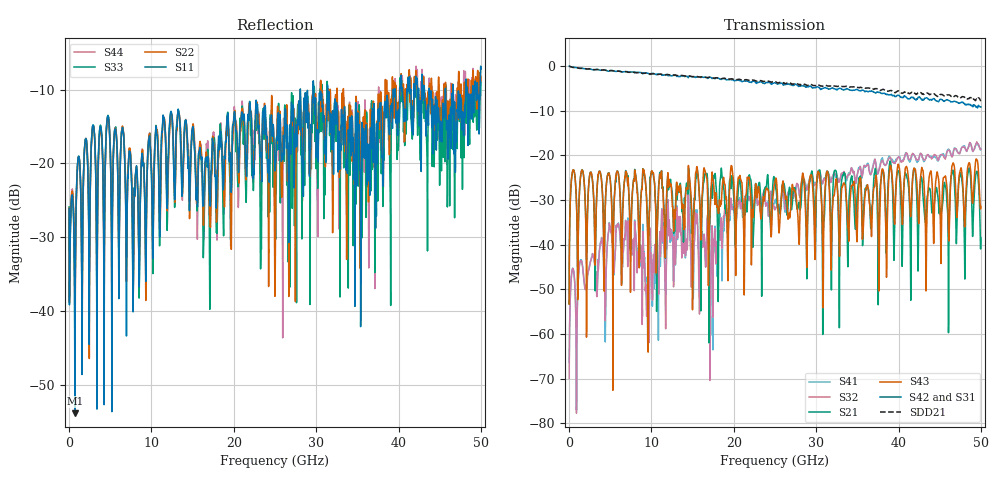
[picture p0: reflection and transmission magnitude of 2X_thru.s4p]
!Agilent Technologies,N5245A,MY49151062,A.09.90.19
!Agilent N5245A: A.09.90.19
!Date: Wednesday, February 13, 2019 09:17:15
!Correction: S99(Full 16 Port(1,2,3,4,5,6,7,8,9,10,11,12,13,14,15,16))
!S9_10(Full 16 Port(1,2,3,4,5,6,7,8,9,10,11,12,13,14,15,16))
!S9_11(Full 16 Port(1,2,3,4,5,6,7,8,9,10,11,12,13,14,15,16))
!S9_12(Full 16 Port(1,2,3,4,5,6,7,8,9,10,11,12,13,14,15,16))
!S10_9(Full 16 Port(1,2,3,4,5,6,7,8,9,10,11,12,13,14,15,16))
!S10_10(Full 16 Port(1,2,3,4,5,6,7,8,9,10,11,12,13,14,15,16))
!S10_11(Full 16 Port(1,2,3,4,5,6,7,8,9,10,11,12,13,14,15,16))
!S10_12(Full 16 Port(1,2,3,4,5,6,7,8,9,10,11,12,13,14,15,16))
!S11_9(Full 16 Port(1,2,3,4,5,6,7,8,9,10,11,12,13,14,15,16))
!S11_10(Full 16 Port(1,2,3,4,5,6,7,8,9,10,11,12,13,14,15,16))
!S11_11(Full 16 Port(1,2,3,4,5,6,7,8,9,10,11,12,13,14,15,16))
!S11_12(Full 16 Port(1,2,3,4,5,6,7,8,9,10,11,12,13,14,15,16))
!S12_9(Full 16 Port(1,2,3,4,5,6,7,8,9,10,11,12,13,14,15,16))
!S12_10(Full 16 Port(1,2,3,4,5,6,7,8,9,10,11,12,13,14,15,16))
!S12_11(Full 16 Port(1,2,3,4,5,6,7,8,9,10,11,12,13,14,15,16))
!S12_12(Full 16 Port(1,2,3,4,5,6,7,8,9,10,11,12,13,14,15,16))
!S4P File: Measurements: <S99,S9_10,S9_11,S9_12>,
!<S10_9,S10_10,S10_11,S10_12>,
!<S11_9,S11_10,S11_11,S11_12>,
!<S12_9,S12_10,S12_11,S12_12>:
# Hz S  RI  R 50
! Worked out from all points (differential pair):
!   5000 points, 10 MHz to 50 GHz, reference 50 ohm
!   strongest paths, dB at 10 MHz, 12.51 GHz, 25.01 GHz, 37.51 GHz, 50 GHz:
!     S42: -0.1, -2.2, -3.8, -5.9, -9.2
!     S31: -0.1, -2.3, -3.9, -5.7, -9.1
!     S43: -53.3, -30.1, -26.0, -33.0, -31.4
!     S21: -53.2, -28.1, -25.6, -42.9, -38.4
!     S32: -69.9, -38.0, -32.2, -24.1, -18.7
!     S41: -66.4, -39.2, -30.2, -24.0, -18.7
!   taken as a pair (ports 2,1 in; 4,3 out), SDD21 dB: -0.1, -2.1, -3.5, -5.3, -7.9
!   lowest |S11| = -53.8 dB at 710 MHz (marker M1), VSWR 1.00, Z = 50.2 - j0.0342 ohm
!   |S11| at or under -10 dB: start of sweep to 28.07 GHz; 31.4 GHz to 39.36 GHz (7.956 GHz wide, 22.5 % of centre); 43.74 GHz to 45.68 GHz (1.933 GHz wide, 4.32 % of centre)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
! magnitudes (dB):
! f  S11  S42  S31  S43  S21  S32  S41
! 10 MHz  -26.2  -0.1  -0.1  -53.3  -53.2  -69.9  -66.4
! 710 MHz  -53.8  -0.4  -0.3  -24.6  -24.6  -49.2  -49.1
! 4.72 GHz  -13.6  -1.2  -1.2  -24.2  -24.1  -38.2  -38.3
! 9.51 GHz  -20.4  -1.6  -1.7  -34.9  -34.4  -53.8  -54.7
! 12.17 GHz  -15.5  -2.2  -2.2  -25.9  -27.0  -34.4  -34.7
! 17.26 GHz  -20.3  -2.6  -2.7  -26.9  -27.2  -40.8  -44.8
! 50 GHz  -7.2  -9.2  -9.1  -31.4  -38.4  -18.7  -18.7
